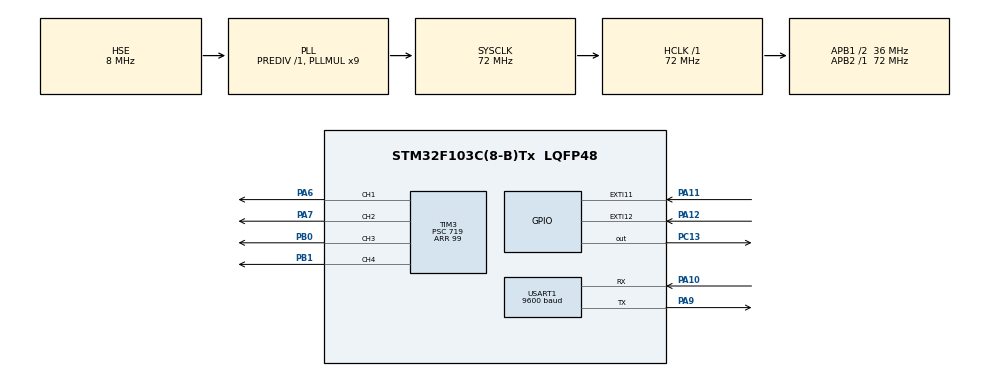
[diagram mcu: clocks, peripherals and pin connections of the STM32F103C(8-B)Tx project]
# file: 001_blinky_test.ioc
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Mcu.Family=STM32F1
Mcu.Name=STM32F103C(8-B)Tx
Mcu.Package=LQFP48
NVIC.EXTI15_10_IRQn=true\:0\:0\:false\:false\:true\:true\:true\:true
NVIC.PriorityGroup=NVIC_PRIORITYGROUP_4
NVIC.TIM3_IRQn=true\:0\:0\:false\:false\:true\:true\:true\:true
NVIC.USART1_IRQn=true\:0\:0\:false\:false\:true\:true\:true\:true
PA10.Mode=Asynchronous
PA10.Signal=USART1_RX
PA11.GPIO_PuPd=GPIO_PULLDOWN
PA11.Signal=GPXTI11
PA12.GPIO_PuPd=GPIO_PULLDOWN
PA12.Signal=GPXTI12
PA6.Signal=S_TIM3_CH1
PA7.Signal=S_TIM3_CH2
PA9.Mode=Asynchronous
PA9.Signal=USART1_TX
PB0.Signal=S_TIM3_CH3
PB1.Signal=S_TIM3_CH4
PC13-TAMPER-RTC.Signal=GPIO_Output
PC14-OSC32_IN.Mode=LSE-External-Oscillator
PC14-OSC32_IN.Signal=RCC_OSC32_IN
PC15-OSC32_OUT.Mode=LSE-External-Oscillator
PC15-OSC32_OUT.Signal=RCC_OSC32_OUT
PD0-OSC_IN.Mode=HSE-External-Oscillator
PD0-OSC_IN.Signal=RCC_OSC_IN
PD1-OSC_OUT.Mode=HSE-External-Oscillator
PD1-OSC_OUT.Signal=RCC_OSC_OUT
ProjectManager.HeapSize=0x200
ProjectManager.StackSize=0x400
ProjectManager.TargetToolchain=Makefile
RCC.ADCPresc=RCC_ADCPCLK2_DIV6
RCC.AHBFreq_Value=72000000
RCC.APB1CLKDivider=RCC_HCLK_DIV2
RCC.APB1Freq_Value=36000000
RCC.APB1TimFreq_Value=72000000
RCC.APB2Freq_Value=72000000
RCC.APB2TimFreq_Value=72000000
RCC.HCLKFreq_Value=72000000
RCC.PLLMUL=RCC_PLL_MUL9
RCC.PLLSourceVirtual=RCC_PLLSOURCE_HSE
RCC.SYSCLKFreq_VALUE=72000000
RCC.SYSCLKSource=RCC_SYSCLKSOURCE_PLLCLK
RCC.USBFreq_Value=72000000
SH.S_TIM3_CH1.0=TIM3_CH1,PWM Generation1 CH1
SH.S_TIM3_CH2.0=TIM3_CH2,PWM Generation2 CH2
SH.S_TIM3_CH3.0=TIM3_CH3,PWM Generation3 CH3
SH.S_TIM3_CH4.0=TIM3_CH4,PWM Generation4 CH4
TIM3.Channel-PWM\ Generation1\ CH1=TIM_CHANNEL_1
TIM3.Channel-PWM\ Generation2\ CH2=TIM_CHANNEL_2
TIM3.Channel-PWM\ Generation3\ CH3=TIM_CHANNEL_3
TIM3.Channel-PWM\ Generation4\ CH4=TIM_CHANNEL_4
TIM3.OCPolarity_1=TIM_OCPOLARITY_HIGH
TIM3.Period=99
TIM3.Prescaler=719
TIM3.Pulse-PWM\ Generation1\ CH1=0
USART1.BaudRate=9600
USART1.Mode=MODE_TX_RX
USART1.VirtualMode=VM_ASYNC
VP_SYS_VS_ND.Mode=No_Debug
VP_TIM3_VS_ClockSourceINT.Mode=Internal
board=custom

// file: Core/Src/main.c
/* USER CODE BEGIN Header */
/**
 ******************************************************************************
 * @file           : main.c
 * @brief          : Main program body
 ******************************************************************************
 * @attention
 *
 * Copyright (c) 2024 STMicroelectronics.
 * All rights reserved.
 *
 * This software is licensed under terms that can be found in the LICENSE file
 * in the root directory of this software component.
 * If no LICENSE file comes with this software, it is provided AS-IS.
 *
 ******************************************************************************
 */
/* USER CODE END Header */
#include "main.h"
#include "gpio.h"
#include "stm32f103xb.h"
#include "stm32f1xx_hal.h"
#include "stm32f1xx_hal_gpio.h"
#include "stm32f1xx_hal_uart.h"
#include "tim.h"
#include "usart.h"
#include <stdint.h>

void SystemClock_Config(void);

/* USER CODE BEGIN 0 */

#define SENT(trans_buffer, size)                                               \
  HAL_UART_Transmit(&huart1, trans_buffer, size, 10000)

static uint16_t timer = 0; /* 1000cnt = 1s ; 1000Hz */
void HAL_TIM_PeriodElapsedCallback(TIM_HandleTypeDef *htim) {
  if (htim->Instance == TIM3) /* 1000cnt = 1s ; 1000Hz */
    timer++;
}

uint32_t vleft = 0, vright = 0;
void HAL_GPIO_EXTI_Callback(uint16_t GPIO_Pin) {
  if (GPIO_Pin == GPIO_PIN_11)
    vleft++;
  if (GPIO_Pin == GPIO_PIN_12)
    vright++;
}

uint8_t commands[1];
unsigned int strlen(const char *);
char *strcpy(char *, const char *);
int sprintf(char *, const char *, ...);
int strcmp(const char *, const char *);

/* &htim3.Instance->CCR1: v_right_forward */
volatile uint32_t *v_rf = &TIM3->CCR1;
/* &htim3.Instance->CCR2: v_right_backward */
volatile uint32_t *v_rb = &TIM3->CCR2;
/* &htim3.Instance->CCR3: v_left_backward */
volatile uint32_t *v_lf = &TIM3->CCR3;
/* &htim3.Instance->CCR4: v_left_forward */
volatile uint32_t *v_lb = &TIM3->CCR4;

uint8_t tx_buff[64], rx_buff[2];
void HAL_UART_RxCpltCallback(UART_HandleTypeDef *huart) {
  if (huart->Instance == USART1) {
    // rx_buff[ cmd, arg ]:
    // cmd: 0x0{N}, CCR{N};
    // arg: CCR{N} = arg;

    if (rx_buff[0] == 0x00) {
      htim3.Instance->CCR2 = 0;
      htim3.Instance->CCR3 = 0;
      htim3.Instance->CCR1 = rx_buff[1];
      htim3.Instance->CCR4 = rx_buff[1];
    }

    if (rx_buff[0] == 0x01)
      htim3.Instance->CCR1 = rx_buff[1];

    if (rx_buff[0] == 0x02)
      htim3.Instance->CCR2 = rx_buff[1];

    if (rx_buff[0] == 0x03)
      htim3.Instance->CCR3 = rx_buff[1];

    if (rx_buff[0] == 0x04)
      htim3.Instance->CCR4 = rx_buff[1];
  }

  HAL_UART_Receive_IT(huart, rx_buff, 2);
}

/* USER CODE END 0 */

int main(void) {

  /* MCU Configuration--------------------------------------------------------*/

  /* Reset of all peripherals, Initializes the Flash interface and the Systick.
   */
  HAL_Init();

  /* Configure the system clock */
  SystemClock_Config();

  /* Initialize all configured peripherals */
  MX_GPIO_Init();
  MX_USART1_UART_Init();
  MX_TIM3_Init();
  /* USER CODE BEGIN 2 */

  HAL_TIM_Base_Start_IT(&htim3);
  HAL_TIM_PWM_Start(&htim3, TIM_CHANNEL_1);
  HAL_TIM_PWM_Start(&htim3, TIM_CHANNEL_2);
  HAL_TIM_PWM_Start(&htim3, TIM_CHANNEL_3);
  HAL_TIM_PWM_Start(&htim3, TIM_CHANNEL_4);

  HAL_UART_Init(&huart1);

  HAL_Delay(300);
  strcpy((char *)tx_buff, "AT+DEFAULT\r\n"); // Reboot
  SENT(tx_buff, strlen((char *)tx_buff));
  HAL_Delay(700);

  HAL_UART_Receive_IT(&huart1, rx_buff, 2);

  /* USER CODE END 2 */

  /* Infinite loop */
  /* USER CODE BEGIN WHILE */
  while (1) {

    if (timer > 100) { /* 1000cnt = 1s ; 1000Hz */

      sprintf((char *)tx_buff, "A11=%d,A12=%d\n", vleft, vright);
      SENT(tx_buff, strlen((char *)tx_buff));

      timer = vleft = vright = 0;
    }

    /* USER CODE END WHILE */

  }
}

void SystemClock_Config(void) {
  RCC_OscInitTypeDef RCC_OscInitStruct = {0};
  RCC_ClkInitTypeDef RCC_ClkInitStruct = {0};

  /** Initializes the RCC Oscillators according to the specified parameters
   * in the RCC_OscInitTypeDef structure.
   */
  RCC_OscInitStruct.OscillatorType = RCC_OSCILLATORTYPE_HSE;
  RCC_OscInitStruct.HSEState = RCC_HSE_ON;
  RCC_OscInitStruct.HSEPredivValue = RCC_HSE_PREDIV_DIV1;
  RCC_OscInitStruct.HSIState = RCC_HSI_ON;
  RCC_OscInitStruct.PLL.PLLState = RCC_PLL_ON;
  RCC_OscInitStruct.PLL.PLLSource = RCC_PLLSOURCE_HSE;
  RCC_OscInitStruct.PLL.PLLMUL = RCC_PLL_MUL9;
  if (HAL_RCC_OscConfig(&RCC_OscInitStruct) != HAL_OK) {
    Error_Handler();
  }

  /** Initializes the CPU, AHB and APB buses clocks
   */
  RCC_ClkInitStruct.ClockType = RCC_CLOCKTYPE_HCLK | RCC_CLOCKTYPE_SYSCLK |
                                RCC_CLOCKTYPE_PCLK1 | RCC_CLOCKTYPE_PCLK2;
  RCC_ClkInitStruct.SYSCLKSource = RCC_SYSCLKSOURCE_PLLCLK;
  RCC_ClkInitStruct.AHBCLKDivider = RCC_SYSCLK_DIV1;
  RCC_ClkInitStruct.APB1CLKDivider = RCC_HCLK_DIV2;
  RCC_ClkInitStruct.APB2CLKDivider = RCC_HCLK_DIV1;

  if (HAL_RCC_ClockConfig(&RCC_ClkInitStruct, FLASH_LATENCY_2) != HAL_OK) {
    Error_Handler();
  }
}

void Error_Handler(void) {
  __disable_irq();
  while (1) {
  }
}

#ifdef USE_FULL_ASSERT
/**
 * @brief  Reports the name of the source file and the source line number
 *         where the assert_param error has occurred.
 * @param  file: pointer to the source file name
 * @param  line: assert_param error line source number
 * @retval None
 */
void assert_failed(uint8_t *file, uint32_t line) {
  /* USER CODE BEGIN 6 */
  /* User can add his own implementation to report the file name and line
     number, ex: printf("Wrong parameters value: file %s on line %d\r\n", file,
     line) */
  /* USER CODE END 6 */
}
#endif /* USE_FULL_ASSERT */
